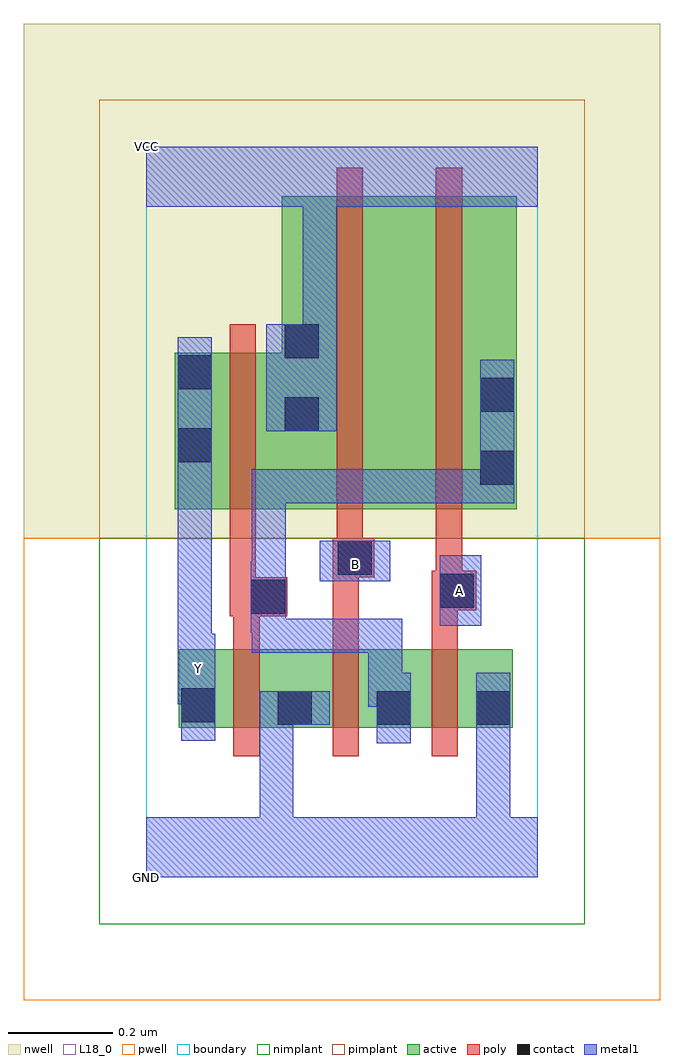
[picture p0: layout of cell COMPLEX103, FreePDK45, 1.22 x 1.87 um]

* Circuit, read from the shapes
.subckt COMPLEX103 A B GND VCC Y
M1 GND n1 Y VSUBS nfet w=0.15u l=0.05u
M2 n1 B GND VSUBS nfet w=0.15u l=0.05u
M3 GND A n1 VSUBS nfet w=0.15u l=0.05u
M4 VCC n1 Y n2 pfet w=0.3u l=0.05u
M5 n3 B VCC n2 pfet w=0.6u l=0.05u
M6 n1 A n3 n2 pfet w=0.6u l=0.05u
.ends

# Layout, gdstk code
import gdstk
lib = gdstk.Library(unit=1e-6, precision=1e-09)
def R(c, l, rs):  # rectangles x0, y0, x1, y1
    for r in rs: c.add(gdstk.rectangle(r[:2], r[2:], *l))
def A(c, l, x, y, w, h, nx, ny, dx, dy):  # array of equal rectangles
    R(c, l, [(x+i*dx, y+j*dy, x+i*dx+w, y+j*dy+h) for i in range(nx) for j in range(ny)])
active = (1, 0)
pwell = (2, 0)
nwell = (3, 0)
nimplant = (4, 0)
pimplant = (5, 0)
poly = (9, 0)
contact = (10, 0)
metal1 = (11, 0)
L18_0 = (18, 0)
boundary = (235, 0)

complex103 = lib.new_cell('COMPLEX103')
R(complex103, active, [(0.062,0.287,0.137,0.437), (0.062,0.287,0.322,0.437), (0.247,0.287,0.512,0.437), (0.247,0.287,0.322,0.397), (0.437,0.287,0.512,0.437), (0.437,0.287,0.702,0.437), (0.627,0.287,0.702,0.437), (0.055,0.705,0.335,1.005), (0.055,0.705,0.13,1.005), (0.26,0.705,0.485,1.305), (0.485,0.705,0.71,1.305), (0.635,0.705,0.71,1.2), (0.26,0.722,0.335,1.305)])
R(complex103, pwell, [(-0.235,-0.235,0.985,0.65)])
R(complex103, nwell, [(-0.235,0.65,0.985,1.635)])
R(complex103, nimplant, [(-0.09,-0.09,0.84,0.65)])
R(complex103, pimplant, [(-0.09,0.65,0.84,1.49)])
A(complex103, poly, 0.167, 0.232, 0.05, 0.26, 3, 1, 0.19, 0)
R(complex103, poly, [(0.167,0.442,0.217,0.55), (0.357,0.442,0.407,0.625), (0.547,0.442,0.597,0.562), (0.16,0.5,0.27,0.575), (0.547,0.512,0.632,0.587), (0.16,0.525,0.21,0.7), (0.555,0.537,0.605,0.7), (0.357,0.575,0.437,0.65), (0.365,0.6,0.415,0.7), (0.16,0.65,0.21,1.06), (0.365,0.65,0.415,1.36), (0.555,0.65,0.605,1.36)])
A(complex103, contact, 0.252, 0.292, 0.065, 0.065, 3, 1, 0.19, 0)
R(complex103, contact, [(0.067,0.297,0.132,0.362), (0.2,0.505,0.265,0.57), (0.562,0.517,0.627,0.582), (0.367,0.58,0.432,0.645), (0.64,0.752,0.705,0.817), (0.06,0.795,0.125,0.86), (0.265,0.855,0.33,0.92), (0.64,0.892,0.705,0.957), (0.06,0.935,0.125,1), (0.265,0.995,0.33,1.06)])
R(complex103, metal1, [(0,0,0.75,0.115), (0.217,0.05,0.282,0.357), (0.632,0.05,0.697,0.322), (0.442,0.257,0.507,0.392), (0.632,0.257,0.697,0.322), (0.632,0.257,0.697,0.322), (0.632,0.257,0.697,0.322), (0.632,0.257,0.697,0.322), (0.632,0.257,0.697,0.322), (0.632,0.257,0.697,0.322), (0.632,0.257,0.697,0.392), (0.067,0.262,0.132,0.397), (0.217,0.292,0.282,0.357), (0.217,0.292,0.282,0.357), (0.217,0.292,0.282,0.357), (0.217,0.292,0.282,0.357), (0.217,0.292,0.282,0.357), (0.217,0.292,0.282,0.357), (0.217,0.292,0.352,0.357), (0.425,0.327,0.507,0.392), (0.425,0.327,0.49,0.495), (0.06,0.332,0.132,0.467), (0.067,0.332,0.132,0.397), (0.06,0.402,0.125,0.825), (0.202,0.43,0.267,0.495), (0.202,0.43,0.49,0.495), (0.202,0.43,0.267,0.535), (0.2,0.47,0.265,0.535), (0.2,0.47,0.265,0.605), (0.2,0.47,0.267,0.535), (0.202,0.47,0.267,0.782), (0.562,0.482,0.642,0.617), (0.332,0.567,0.467,0.645), (0.202,0.717,0.267,0.782), (0.202,0.717,0.405,0.782), (0.34,0.717,0.405,0.782), (0.34,0.717,0.405,0.782), (0.34,0.717,0.405,0.782), (0.34,0.717,0.705,0.782), (0.64,0.717,0.705,0.782), (0.64,0.717,0.705,0.782), (0.64,0.717,0.705,0.992), (0.06,0.76,0.125,1.035), (0.23,0.855,0.365,1.06), (0.3,0.995,0.365,1.35), (0,1.285,0.75,1.4)])
R(complex103, L18_0, [(0,0,0.75,0.115), (0.217,0.05,0.282,0.357), (0.632,0.05,0.697,0.322), (0.632,0.257,0.697,0.392), (0.632,0.257,0.697,0.322), (0.632,0.257,0.697,0.322), (0.632,0.257,0.697,0.322), (0.632,0.257,0.697,0.322), (0.632,0.257,0.697,0.322), (0.632,0.257,0.697,0.322), (0.067,0.262,0.132,0.397), (0.217,0.292,0.282,0.357), (0.217,0.292,0.282,0.357), (0.217,0.292,0.282,0.357), (0.217,0.292,0.282,0.357), (0.217,0.292,0.282,0.357), (0.217,0.292,0.282,0.357), (0.217,0.292,0.352,0.357), (0.06,0.332,0.132,0.467), (0.067,0.332,0.132,0.397), (0.067,0.367,0.132,0.432), (0.06,0.402,0.125,0.825), (0.562,0.482,0.642,0.617), (0.567,0.517,0.632,0.582), (0.332,0.567,0.467,0.645), (0.367,0.567,0.432,0.632), (0.06,0.76,0.125,1.035), (0.23,0.855,0.365,1.06), (0.3,0.995,0.365,1.35), (0,1.285,0.75,1.4)])
R(complex103, boundary, [(0,0,0.75,1.4)])
complex103.add(gdstk.Label('A', (0.6,0.55), layer=11, texttype=0))
complex103.add(gdstk.Label('B', (0.4,0.6), layer=11, texttype=0))
complex103.add(gdstk.Label('Y', (0.1,0.4), layer=11, texttype=0))
complex103.add(gdstk.Label('VCC', (0,1.4), layer=11, texttype=0))
complex103.add(gdstk.Label('GND', (0,0), layer=11, texttype=0))

lib.write_gds('COMPLEX103.gds')
